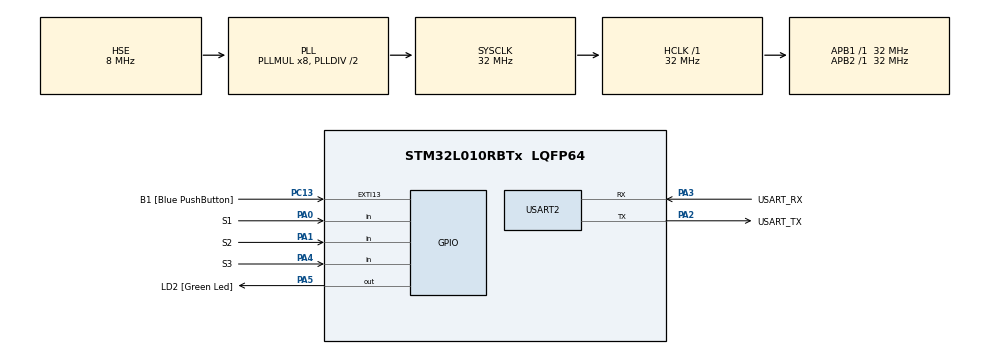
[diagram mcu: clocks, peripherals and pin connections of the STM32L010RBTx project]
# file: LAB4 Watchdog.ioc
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IWDG.Prescaler=IWDG_PRESCALER_64
Mcu.Family=STM32L0
Mcu.Name=STM32L010RBTx
Mcu.Package=LQFP64
PA0.GPIO_Label=S1
PA0.Signal=GPIO_Input
PA1.GPIO_Label=S2
PA1.Signal=GPIO_Input
PA13.GPIO_Label=TMS
PA13.Mode=Serial_Wire
PA13.Signal=SYS_SWDIO
PA14.GPIO_Label=TCK
PA14.Mode=Serial_Wire
PA14.Signal=SYS_SWCLK
PA2.GPIO_Label=USART_TX
PA2.Mode=Asynchronous
PA2.Signal=USART2_TX
PA3.GPIO_Label=USART_RX
PA3.Mode=Asynchronous
PA3.Signal=USART2_RX
PA4.GPIO_Label=S3
PA4.Signal=GPIO_Input
PA5.GPIO_Label=LD2 [Green Led]
PA5.Signal=GPIO_Output
PC13.GPIO_Label=B1 [Blue PushButton]
PC13.GPIO_ModeDefaultEXTI=GPIO_MODE_IT_FALLING
PC13.GPIO_PuPd=GPIO_PULLUP
PC13.Signal=GPXTI13
PC14-OSC32_IN.Mode=LSE-External-Oscillator
PC14-OSC32_IN.Signal=RCC_OSC32_IN
PC15-OSC32_OUT.Mode=LSE-External-Oscillator
PC15-OSC32_OUT.Signal=RCC_OSC32_OUT
PH0-OSC_IN.GPIO_Label=MCO
PH0-OSC_IN.Mode=HSE-External-Clock-Source
PH0-OSC_IN.Signal=RCC_OSC_IN
ProjectManager.HeapSize=0x200
ProjectManager.StackSize=0x400
ProjectManager.TargetToolchain=STM32CubeIDE
RCC.AHBFreq_Value=32000000
RCC.APB1Freq_Value=32000000
RCC.APB1TimFreq_Value=32000000
RCC.APB2Freq_Value=32000000
RCC.APB2TimFreq_Value=32000000
RCC.HCLKFreq_Value=32000000
RCC.HSE_VALUE=8000000
RCC.HSI16_VALUE=16000000
RCC.HSI48_VALUE=48000000
RCC.HSI_VALUE=16000000
RCC.MSI_VALUE=2097000
RCC.PLLMUL=RCC_PLLMUL_8
RCC.PLLSourceVirtual=RCC_PLLSOURCE_HSE
RCC.SYSCLKFreq_VALUE=32000000
RCC.SYSCLKSource=RCC_SYSCLKSOURCE_PLLCLK
RCC.VCOOutputFreq_Value=64000000
USART2.VirtualMode-Asynchronous=VM_ASYNC
VP_IWDG_VS_IWDG.Mode=IWDG_Activate
VP_WWDG_VS_WWDG.Mode=WWDG_Activate
WWDG.Counter=127
WWDG.Prescaler=WWDG_PRESCALER_8
WWDG.Window=100
board=NUCLEO-L010RB

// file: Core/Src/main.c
/* USER CODE BEGIN Header */
/**
 ******************************************************************************
 * @file           : main.c
 * @brief          : Main program body
 ******************************************************************************
 * @attention
 *
 * Copyright (c) 2023 STMicroelectronics.
 * All rights reserved.
 *
 * This software is licensed under terms that can be found in the LICENSE file
 * in the root directory of this software component.
 * If no LICENSE file comes with this software, it is provided AS-IS.
 *
 ******************************************************************************
 */
/* USER CODE END Header */
#include "main.h"

IWDG_HandleTypeDef hiwdg;

UART_HandleTypeDef huart2;

WWDG_HandleTypeDef hwwdg;

void SystemClock_Config(void);
static void MX_GPIO_Init(void);
static void MX_USART2_UART_Init(void);
static void MX_IWDG_Init(void);
static void MX_WWDG_Init(void);

int main(void) {

	/* MCU Configuration--------------------------------------------------------*/

	/* Reset of all peripherals, Initializes the Flash interface and the Systick. */
	HAL_Init();

	/* Configure the system clock */
	SystemClock_Config();

	/* USER CODE BEGIN SysInit */

	MX_GPIO_Init();
	HAL_GPIO_WritePin(LD2_GPIO_Port, LD2_Pin, 1);
	HAL_Delay(1000);
	HAL_GPIO_WritePin(LD2_GPIO_Port, LD2_Pin, 0);
	HAL_Delay(1000);

	/* USER CODE END SysInit */

	/* Initialize all configured peripherals */
	MX_GPIO_Init();
	MX_USART2_UART_Init();
	MX_IWDG_Init();
	MX_WWDG_Init();

	/* Infinite loop */
	/* USER CODE BEGIN WHILE */
	while (1) {

		static uint32_t nextrun = 0;
		if (HAL_GetTick() > nextrun) {
			nextrun = HAL_GetTick() + 200;
			HAL_GPIO_TogglePin(LD2_GPIO_Port, LD2_Pin);
		}

//		if (HAL_GPIO_ReadPin(B1_GPIO_Port, B1_Pin)) {
//			// if button not pressed, reset watchdog.
//			HAL_IWDG_Refresh(&hiwdg);
//		}

		if (HAL_GPIO_ReadPin(S1_GPIO_Port, S1_Pin) == GPIO_PIN_RESET) //s1 press
				{
			//refresh at 70ms - MCU should reset
			HAL_Delay(70);
			HAL_WWDG_Refresh(&hwwdg);
		} else if (HAL_GPIO_ReadPin(S2_GPIO_Port, S2_Pin) == GPIO_PIN_RESET) //s2 press
				{
			//refresh at 20ms - MCU should reset
			HAL_Delay(20);
			HAL_WWDG_Refresh(&hwwdg);
		} else if (HAL_GPIO_ReadPin(S3_GPIO_Port, S3_Pin) == GPIO_PIN_RESET) //s3 press
				{
			// stop main clock
			HAL_SuspendTick();
			HAL_PWR_EnterSTOPMode(PWR_REGULATOR_VOLTAGE_SCALE1, PWR_STOPENTRY_WFE);

		} else {
			//refresh at 50ms - MCU should continuous running
			HAL_Delay(50);
			HAL_WWDG_Refresh(&hwwdg);
		}

		//refresh I Watchdog
		HAL_IWDG_Refresh(&hiwdg);

		/* USER CODE END WHILE */

	}
}

void SystemClock_Config(void) {
	RCC_OscInitTypeDef RCC_OscInitStruct = { 0 };
	RCC_ClkInitTypeDef RCC_ClkInitStruct = { 0 };
	RCC_PeriphCLKInitTypeDef PeriphClkInit = { 0 };

	/** Configure the main internal regulator output voltage
	 */
	__HAL_PWR_VOLTAGESCALING_CONFIG(PWR_REGULATOR_VOLTAGE_SCALE1);

	/** Initializes the RCC Oscillators according to the specified parameters
	 * in the RCC_OscInitTypeDef structure.
	 */
	RCC_OscInitStruct.OscillatorType = RCC_OSCILLATORTYPE_LSI | RCC_OSCILLATORTYPE_HSE;
	RCC_OscInitStruct.HSEState = RCC_HSE_BYPASS;
	RCC_OscInitStruct.LSIState = RCC_LSI_ON;
	RCC_OscInitStruct.PLL.PLLState = RCC_PLL_ON;
	RCC_OscInitStruct.PLL.PLLSource = RCC_PLLSOURCE_HSE;
	RCC_OscInitStruct.PLL.PLLMUL = RCC_PLLMUL_8;
	RCC_OscInitStruct.PLL.PLLDIV = RCC_PLLDIV_2;
	if (HAL_RCC_OscConfig(&RCC_OscInitStruct) != HAL_OK) {
		Error_Handler();
	}

	/** Initializes the CPU, AHB and APB buses clocks
	 */
	RCC_ClkInitStruct.ClockType = RCC_CLOCKTYPE_HCLK | RCC_CLOCKTYPE_SYSCLK | RCC_CLOCKTYPE_PCLK1 | RCC_CLOCKTYPE_PCLK2;
	RCC_ClkInitStruct.SYSCLKSource = RCC_SYSCLKSOURCE_PLLCLK;
	RCC_ClkInitStruct.AHBCLKDivider = RCC_SYSCLK_DIV1;
	RCC_ClkInitStruct.APB1CLKDivider = RCC_HCLK_DIV1;
	RCC_ClkInitStruct.APB2CLKDivider = RCC_HCLK_DIV1;

	if (HAL_RCC_ClockConfig(&RCC_ClkInitStruct, FLASH_LATENCY_1) != HAL_OK) {
		Error_Handler();
	}
	PeriphClkInit.PeriphClockSelection = RCC_PERIPHCLK_USART2;
	PeriphClkInit.Usart2ClockSelection = RCC_USART2CLKSOURCE_PCLK1;
	if (HAL_RCCEx_PeriphCLKConfig(&PeriphClkInit) != HAL_OK) {
		Error_Handler();
	}
}

static void MX_IWDG_Init(void) {

	hiwdg.Instance = IWDG;
	hiwdg.Init.Prescaler = IWDG_PRESCALER_64;
	hiwdg.Init.Window = 4095;
	hiwdg.Init.Reload = 4095;
	if (HAL_IWDG_Init(&hiwdg) != HAL_OK) {
		Error_Handler();
	}

}

static void MX_USART2_UART_Init(void) {

	huart2.Instance = USART2;
	huart2.Init.BaudRate = 115200;
	huart2.Init.WordLength = UART_WORDLENGTH_8B;
	huart2.Init.StopBits = UART_STOPBITS_1;
	huart2.Init.Parity = UART_PARITY_NONE;
	huart2.Init.Mode = UART_MODE_TX_RX;
	huart2.Init.HwFlowCtl = UART_HWCONTROL_NONE;
	huart2.Init.OverSampling = UART_OVERSAMPLING_16;
	huart2.Init.OneBitSampling = UART_ONE_BIT_SAMPLE_DISABLE;
	huart2.AdvancedInit.AdvFeatureInit = UART_ADVFEATURE_NO_INIT;
	if (HAL_UART_Init(&huart2) != HAL_OK) {
		Error_Handler();
	}

}

static void MX_WWDG_Init(void) {

	hwwdg.Instance = WWDG;
	hwwdg.Init.Prescaler = WWDG_PRESCALER_8;
	hwwdg.Init.Window = 100;
	hwwdg.Init.Counter = 127;
	hwwdg.Init.EWIMode = WWDG_EWI_DISABLE;
	if (HAL_WWDG_Init(&hwwdg) != HAL_OK) {
		Error_Handler();
	}

}

static void MX_GPIO_Init(void) {
	GPIO_InitTypeDef GPIO_InitStruct = { 0 };

	/* GPIO Ports Clock Enable */
	__HAL_RCC_GPIOC_CLK_ENABLE();
	__HAL_RCC_GPIOH_CLK_ENABLE();
	__HAL_RCC_GPIOA_CLK_ENABLE();

	/*Configure GPIO pin Output Level */
	HAL_GPIO_WritePin(LD2_GPIO_Port, LD2_Pin, GPIO_PIN_RESET);

	/*Configure GPIO pin : B1_Pin */
	GPIO_InitStruct.Pin = B1_Pin;
	GPIO_InitStruct.Mode = GPIO_MODE_IT_FALLING;
	GPIO_InitStruct.Pull = GPIO_PULLUP;
	HAL_GPIO_Init(B1_GPIO_Port, &GPIO_InitStruct);

	/*Configure GPIO pins : S1_Pin S2_Pin S3_Pin */
	GPIO_InitStruct.Pin = S1_Pin | S2_Pin | S3_Pin;
	GPIO_InitStruct.Mode = GPIO_MODE_INPUT;
	GPIO_InitStruct.Pull = GPIO_NOPULL;
	HAL_GPIO_Init(GPIOA, &GPIO_InitStruct);

	/*Configure GPIO pin : LD2_Pin */
	GPIO_InitStruct.Pin = LD2_Pin;
	GPIO_InitStruct.Mode = GPIO_MODE_OUTPUT_PP;
	GPIO_InitStruct.Pull = GPIO_NOPULL;
	GPIO_InitStruct.Speed = GPIO_SPEED_FREQ_LOW;
	HAL_GPIO_Init(LD2_GPIO_Port, &GPIO_InitStruct);

}

void Error_Handler(void) {
	__disable_irq();
	while (1) {
	}
}
